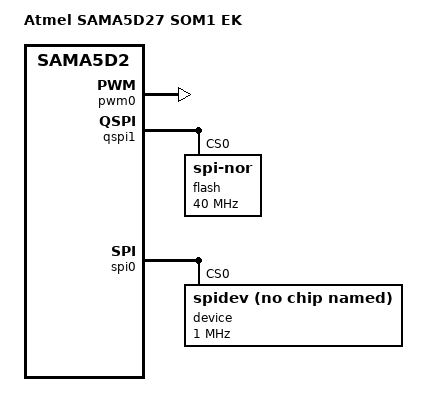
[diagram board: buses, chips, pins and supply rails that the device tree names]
/*
 * at91-sama5d27_som1_ek.dts - Device Tree file for SAMA5D27-SOM1-EK board
 *
 *  Copyright (c) 2017, Microchip Technology Inc.
 *                2016 Nicolas Ferre <nicolas.ferre@atmel.com>
 *                2017 Cristian Birsan <cristian.birsan@microchip.com>
 *                2017 Claudiu Beznea <claudiu.beznea@microchip.com>
 *
 * This file is dual-licensed: you can use it either under the terms
 * of the GPL or the X11 license, at your option. Note that this dual
 * licensing only applies to this file, and not this project as a
 * whole.
 *
 *  a) This file is free software; you can redistribute it and/or
 *     modify it under the terms of the GNU General Public License as
 *     published by the Free Software Foundation; either version 2 of the
 *     License, or (at your option) any later version.
 *
 *     This file is distributed in the hope that it will be useful,
 *     but WITHOUT ANY WARRANTY; without even the implied warranty of
 *     MERCHANTABILITY or FITNESS FOR A PARTICULAR PURPOSE.  See the
 *     GNU General Public License for more details.
 *
 * Or, alternatively,
 *
 *  b) Permission is hereby granted, free of charge, to any person
 *     obtaining a copy of this software and associated documentation
 *     files (the "Software"), to deal in the Software without
 *     restriction, including without limitation the rights to use,
 *     copy, modify, merge, publish, distribute, sublicense, and/or
 *     sell copies of the Software, and to permit persons to whom the
 *     Software is furnished to do so, subject to the following
 *     conditions:
 *
 *     The above copyright notice and this permission notice shall be
 *     included in all copies or substantial portions of the Software.
 *
 *     THE SOFTWARE IS PROVIDED "AS IS", WITHOUT WARRANTY OF ANY KIND,
 *     EXPRESS OR IMPLIED, INCLUDING BUT NOT LIMITED TO THE WARRANTIES
 *     OF MERCHANTABILITY, FITNESS FOR A PARTICULAR PURPOSE AND
 *     NONINFRINGEMENT. IN NO EVENT SHALL THE AUTHORS OR COPYRIGHT
 *     HOLDERS BE LIABLE FOR ANY CLAIM, DAMAGES OR OTHER LIABILITY,
 *     WHETHER IN AN ACTION OF CONTRACT, TORT OR OTHERWISE, ARISING
 *     FROM, OUT OF OR IN CONNECTION WITH THE SOFTWARE OR THE USE OR
 *     OTHER DEALINGS IN THE SOFTWARE.
 */
/dts-v1/;
#include "at91-sama5d27_som1_ek_common.dtsi"
/ {
	model = "Atmel SAMA5D27 SOM1 EK";
	compatible = "atmel,sama5d27-som1-ek", "atmel,sama5d27-som1", "atmel,sama5d27", "atmel,sama5d2", "atmel,sama5";

	/delete-node/ chosen;

	chosen {
		 bootargs = "console=ttyS0,115200 earlyprintk root=/dev/mmcblk0p2 rw rootwait rootfstype=jffs2";
		 stdout-path = "serial0:115200n8";
	};

	ahb {
                /delete-node/ sdio-host@a0000000;
              /*  /delete-node/ sdmmc0; */
                
		apb {
                        pwm0: pwm@f802c000 {
                                pinctrl-names = "default";
                                pinctrl-0 = <&pinctrl_mikrobus2_pwm>;
                                status = "okay";
                        };
                         
			qspi1: spi@f0024000 {
		               pinctrl-names = "default";
		               pinctrl-0 = <&pinctrl_qspi1_default>;

		               /delete-node/ flash@0;

		               flash@0 {
		                       #address-cells = <1>;
		                       #size-cells = <1>;
		                       compatible = "jedec,spi-nor";
		                       reg = <0>;
		                       spi-max-frequency = <40000000>;
		                       m25p,fast-read;

		                       at91bootdtb@00000000 {
			               label = "at91bootdtb";
			               reg = <0x00000000 0x00020000>;
		                       };
                                       
		                       kernel@00020000 {
			               label = "kernel";
			               reg = <0x00020000 0x002e0000>;
		                       };
                                       
		                       rfs@00300000 {
			               label = "rfs";
			               reg = <0x00300000 0x00c00000>;
		                       };

		                       usrconfig@00f00000 {
			               label = "usrconfig";
			               reg = <0x00f00000 0x00100000>;
		                       };

		                       factory@001000000 {
			               label = "factory";
			               reg = <0x01000000 0x00c00000>;
		                       };

		               };
	                };

                        spi0: spi@f8000000 {
			      pinctrl-names = "default";
			      pinctrl-0 = <&pinctrl_spi0_default>;
			      status = "okay";
                              cs-gpios = <0>, <0>, <0>, <0>;

                              device@0 {
                                       compatible = "spidev";
			               spi-max-frequency = <1000000>;
			               reg = <0>;
			      };
                        };
		};
	};
};


